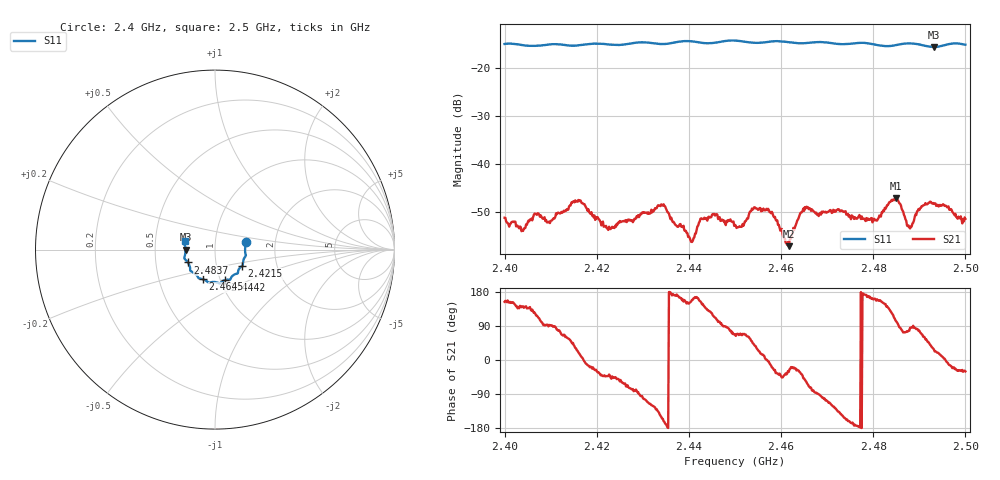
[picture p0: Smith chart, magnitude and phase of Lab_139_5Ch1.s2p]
# Hz S RI R 50
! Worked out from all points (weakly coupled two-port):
!   601 points, 2.4 GHz to 2.5 GHz, reference 50 ohm
!   highest |S21| = -47.06 dB at 2.4848 GHz (marker M1); lowest = -57.0 dB at 2.4617 GHz (marker M2)
!   lowest |S11| = -15.7 dB at 2.4932 GHz (marker M3), VSWR 1.39, Z = 35.9 - j0.0726 ohm
!   |S11| at or under -10 dB: start of sweep to end of sweep
!   S12 and S22 are empty: the file has one direction only
!   S11 on the Smith chart (normalised r, x): 2.4 GHz: 1.41, +0.12; 2.4215 GHz: 1.33, -0.25; 2.4442 GHz: 1.05, -0.37; 2.4645 GHz: 0.83, -0.29; 2.4837 GHz: 0.73, -0.11; 2.5 GHz: 0.71, +0.07
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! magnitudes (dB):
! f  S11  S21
! 2.4 GHz  -15.1  -51.1
! 2.404 GHz  -15.4  -53.9
! 2.4068 GHz  -15.5  -50.4
! 2.4097 GHz  -15.2  -51.9
! 2.4167 GHz  -15.3  -48.0
! 2.4215 GHz  -15.1  -53.0
! 2.4333 GHz  -15.1  -48.5
! 2.4405 GHz  -14.5  -56.1
! 2.4442 GHz  -15.0  -51.0
! 2.45 GHz  -14.4  -52.6
! 2.4568 GHz  -14.7  -49.3
! 2.4617 GHz  -14.7  -57.0
! 2.4645 GHz  -15.0  -50.0
! 2.4667 GHz  -14.8  -49.4
! 2.4803 GHz  -15.2  -51.6
! 2.4833 GHz  -15.6  -48.2
! 2.4837 GHz  -15.5  -47.8
! 2.4848 GHz  -15.4  -47.1
! 2.4878 GHz  -15.0  -53.1
! 2.4903 GHz  -15.3  -49.1
! 2.4932 GHz  -15.7  -48.3
! 2.5 GHz  -15.3  -51.4
